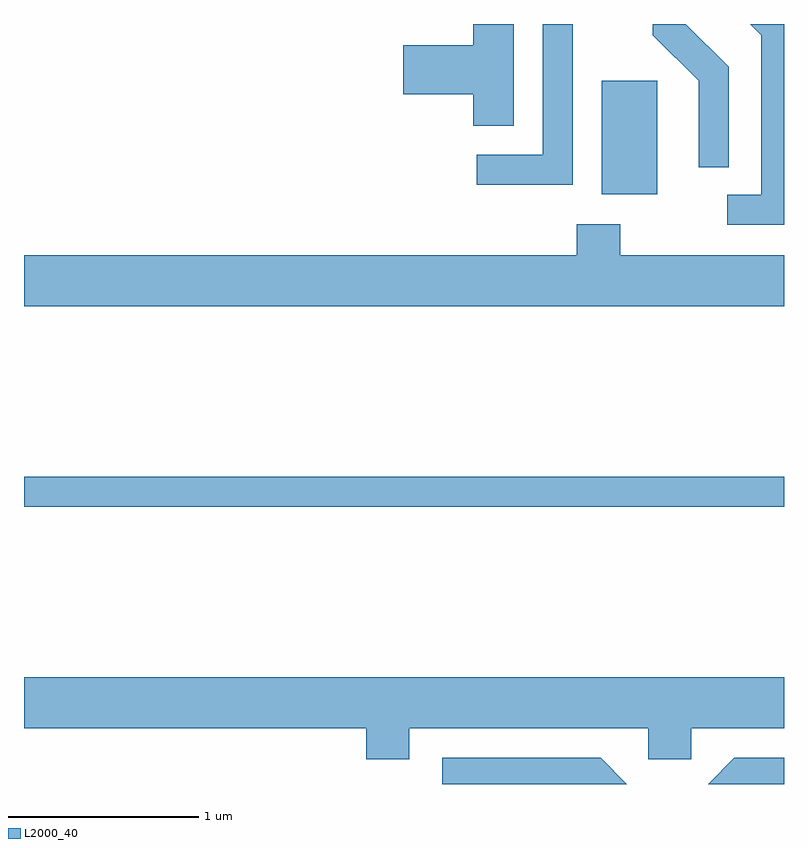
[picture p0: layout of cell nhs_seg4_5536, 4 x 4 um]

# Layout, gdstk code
import gdstk
lib = gdstk.Library(unit=1e-6, precision=1e-09)
def R(c, l, rs):  # rectangles x0, y0, x1, y1
    for r in rs: c.add(gdstk.rectangle(r[:2], r[2:], *l))
def P(c, l, *ps):  # polygons
    for p in ps: c.add(gdstk.Polygon(p, *l))
L2000_40 = (2000, 40)

nhs_seg4_5536 = lib.new_cell('nhs_seg4_5536')
R(nhs_seg4_5536, L2000_40, [(347.611,1311.441,351.611,1311.599), (350.651,1313.086,350.944,1313.684)])
P(nhs_seg4_5536, L2000_40, [(350.499,1313.982),(350.341,1313.982),(350.341,1313.294),(349.993,1313.294),(349.993,1313.136),(350.499,1313.136)],
  [(351.319,1313.757),(351.094,1313.982),(350.921,1313.982),(350.921,1313.924),(351.161,1313.684),(351.161,1313.228),(351.319,1313.228)],
  [(351.611,1313.982),(351.433,1313.982),(351.491,1313.924),(351.491,1313.084),(351.313,1313.084),(351.313,1312.926),(351.611,1312.926)],
  [(350.189,1313.982),(349.976,1313.982),(349.976,1313.869),(349.606,1313.869),(349.606,1313.611),(349.976,1313.611),(349.976,1313.446),(350.189,1313.446)],
  [(351.611,1312.764),(350.749,1312.764),(350.749,1312.929),(350.521,1312.929),(350.521,1312.764),(347.611,1312.764),(347.611,1312.496),(351.611,1312.496)],
  [(349.639,1310.276),(350.896,1310.276),(350.896,1310.111),(351.124,1310.111),(351.124,1310.276),(351.611,1310.276),(351.611,1310.544),(347.611,1310.544),(347.611,1310.276),(349.411,1310.276),(349.411,1310.111),(349.639,1310.111)],
  [(351.611,1310.119),(351.349,1310.119),(351.212,1309.982),(351.611,1309.982)],
  [(350.647,1310.119),(349.811,1310.119),(349.811,1309.982),(350.784,1309.982)])

lib.write_gds('nhs_seg4_5536.gds')
